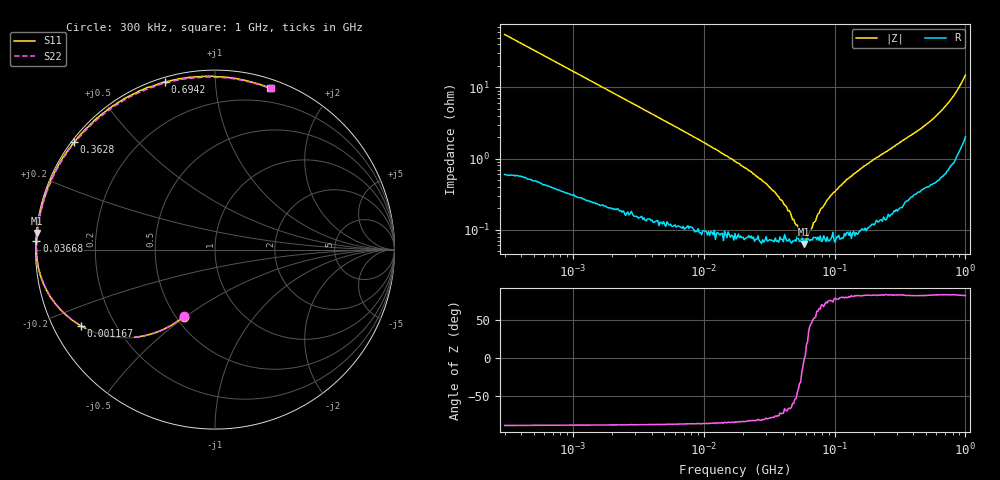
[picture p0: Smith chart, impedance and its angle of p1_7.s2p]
#  HZ  S  RI  R  50
! Rohde & Schwarz ZVA/B
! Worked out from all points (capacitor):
!   401 points, 300 kHz to 1 GHz, reference 50 ohm
!   read as one part in shunt: C = 9.56 nF near 312.4 kHz
!   lowest |Z| = 63.1 mohm at 58.48 MHz (marker M1)
!   series resonance near 58.97 MHz, so ESL is about 760 pH
!   S11 on the Smith chart (normalised r, x): 300 kHz: 0.55, -0.49; 1.167 MHz: 0.08, -0.26; 36.68 MHz: 0.00, +0.02; 362.8 MHz: 0.01, +0.34; 694.2 MHz: 0.02, +0.74; 1 GHz: 0.07, +1.39
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300000  -0.1738 -0.373  0.8294 -0.3726  0.8301 -0.373  -0.1735 -0.3711
610060.8  -0.4547 -0.4896  0.5459 -0.4912  0.5459 -0.4917  -0.454 -0.489
1167356  -0.7461 -0.425  0.2537 -0.4264  0.2538 -0.4269  -0.746 -0.4241
2101901  -0.9018 -0.2865  0.0994 -0.2887  0.0991 -0.288  -0.8996 -0.2852
4542403  -0.9745 -0.1376  0.0251 -0.1455  0.0257 -0.1452  -0.9738 -0.1378
1.732051e7  -0.9964 -0.00812  0.0038 -0.0361  0.00388 -0.0364  -0.9947 -0.00765
2.81795e7  -0.996 0.0264  0.00235 -0.0191  0.00207 -0.0194  -0.995 0.028
3.66798e7  -0.9948 0.0484  0.00222 -0.0116  0.00215 -0.0116  -0.9951 0.05
4.402422e7  -0.9949 0.0637  0.00233 -0.0069  0.00242 -0.00743  -0.992 0.0675
5.073902e7  -0.9927 0.0803  0.00243 -0.00398  0.00252 -0.00314  -0.991 0.0804
5.615366e7  -0.992 0.0889  0.00296 -0.00132  0.00278 -0.0012  -0.991 0.0919
5.847799e7  -0.9911 0.0925  0.00249 -0.000317  0.00264 -0.000241  -0.9909 0.0962
6.739735e7  -0.9887 0.1111  0.00317 0.00279  0.0032 0.00283  -0.9883 0.1143
8.089238e7  -0.9861 0.1375  0.00379 0.00712  0.00407 0.0075  -0.9845 0.1398
1.031796e8  -0.9783 0.1778  0.0056 0.0132  0.00612 0.0132  -0.9769 0.1827
1.611953e8  -0.9532 0.2806  0.0119 0.026  0.0117 0.0259  -0.951 0.2868
2.622557e8  -0.8842 0.4494  0.0277 0.0415  0.0277 0.0417  -0.8749 0.4565
3.627773e8  -0.7841 0.5994  0.0497 0.0499  0.0496 0.0498  -0.773 0.608
5.226004e8  -0.5722 0.7983  0.0866 0.0469  0.0868 0.0471  -0.5569 0.8014
6.941774e8  -0.2809 0.9333  0.1293 0.0242  0.129 0.0241  -0.2658 0.9313
8.502417e8  0.0183 0.9626  0.16 -0.0186  0.1605 -0.019  0.0277 0.9593
1e9  0.3061 0.9006  0.1725 -0.0767  0.1728 -0.0766  0.3101 0.8978
